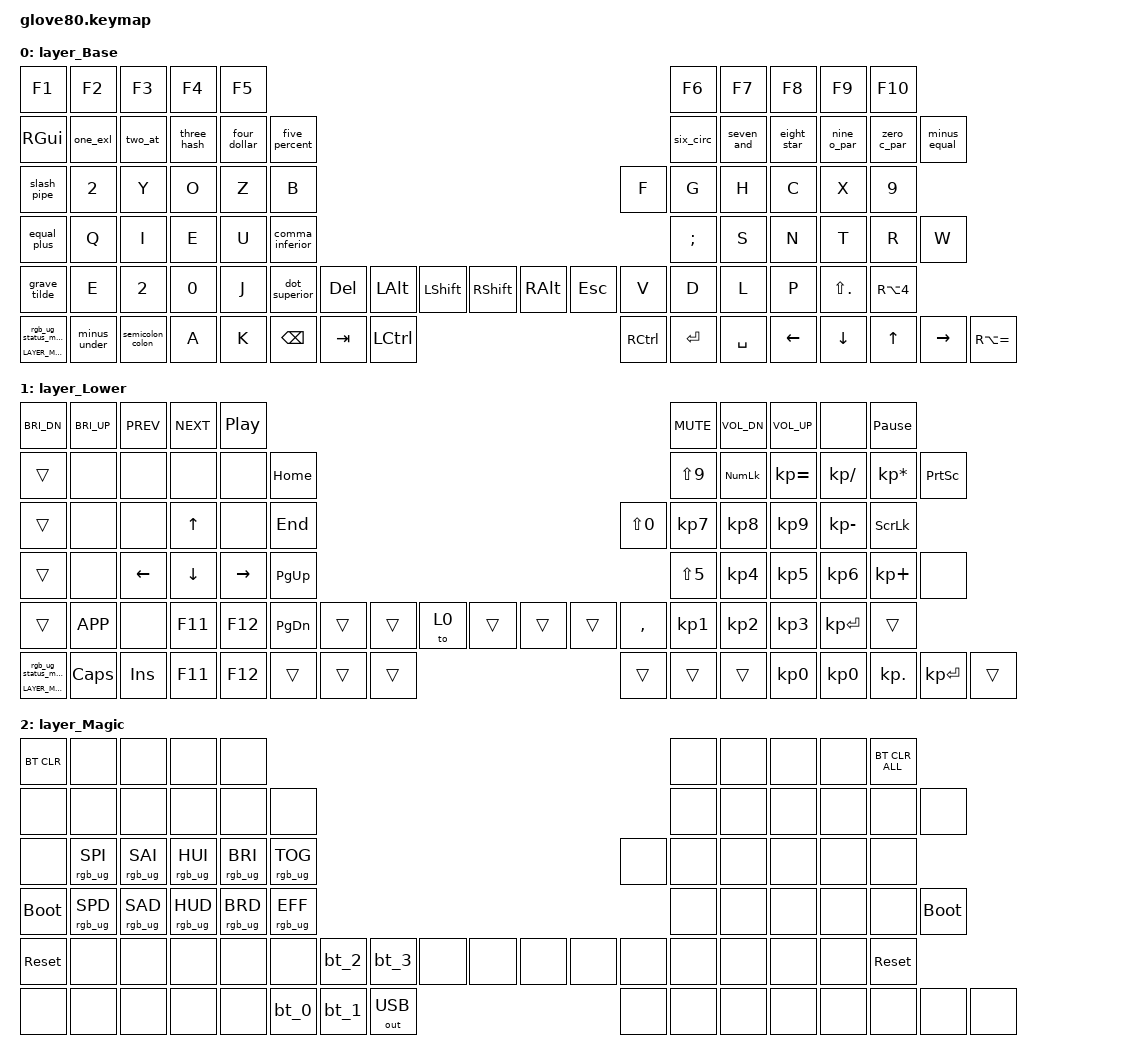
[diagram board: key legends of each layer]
/*
* Copyright (c) 2020 The ZMK Contributors
* Copyright (c) 2025 Innaworks Development Limited, trading as MoErgo
*
* SPDX-License-Identifier: MIT
*/


/* THIS FILE WAS GENERATED BY GLOVE80 LAYOUT EDITOR
*
* This file was generated automatically. You may or may not want to
* edit it directly.
*/

#include <behaviors.dtsi>
/* Include all behavior includes needed */
#include <dt-bindings/zmk/outputs.h>
#include <dt-bindings/zmk/keys.h>
#include <dt-bindings/zmk/bt.h>
#include <dt-bindings/zmk/rgb.h>

/* On demand includes */


/* Helper Macros, based on https://github.com/urob/zmk-helpers/ */

#pragma once

#define ZMK_HELPER_STRINGIFY(x) #x

// Preprocessor mechanism to overload macros, cf. https://stackoverflow.com/a/27051616/6114651
#define VARGS_(_10, _9, _8, _7, _6, _5, _4, _3, _2, _1, N, ...) N
#define VARGS(...) VARGS_(__VA_ARGS__, 10, 9, 8, 7, 6, 5, 4, 3, 2, 1, 0)
#define CONCAT_(a, b) a##b
#define CONCAT(a, b) CONCAT_(a, b)

#define ZMK_BEHAVIOR_CORE_tap_dance  \
compatible = "zmk,behavior-tap-dance"; \
#binding-cells = <0>

#define ZMK_BEHAVIOR(name, type, ...) \
name: name { \
ZMK_BEHAVIOR_CORE_ ## type; \
__VA_ARGS__ \
};

#define ZMK_TAP_DANCE(name, ...) \
ZMK_BEHAVIOR(name, tap_dance, __VA_ARGS__)

#define ZMK_TD_LAYER(name, layer) \
ZMK_TAP_DANCE(name, \
tapping-term-ms = <200>; \
bindings = <&mo layer>, <&to layer>; \
)

/* Automatically generated layer name #define */
#define LAYER_Base 0
#define LAYER_Lower 1
#define LAYER_Magic 2

/* To deal with the situation where there is no Lower layer, to keep &lower happy */
#ifndef LAYER_Lower
#define LAYER_Lower 0
#endif

/* Custom Device-tree */


/* Input Listeners */


/* System behavior and Macros */
/ {
  behaviors {
    ZMK_TD_LAYER(lower, LAYER_Lower)
  };
};

/ {
  macros {
    rgb_ug_status_macro: rgb_ug_status_macro {
      label = "RGB_UG_STATUS";
      compatible = "zmk,behavior-macro";
      #binding-cells = <0>;
      bindings
      = <&rgb_ug RGB_STATUS>;
    };
  };
};


/ {
#ifdef BT_DISC_CMD
behaviors {
  bt_0: bt_0 {
    compatible = "zmk,behavior-tap-dance";
    label = "BT_0";
    #binding-cells = <0>;
    tapping-term-ms = <200>;
    bindings = <&bt_select_0>, <&bt BT_DISC 0>;
  };
  bt_1: bt_1 {
    compatible = "zmk,behavior-tap-dance";
    label = "BT_1";
    #binding-cells = <0>;
    tapping-term-ms = <200>;
    bindings = <&bt_select_1>, <&bt BT_DISC 1>;
  };
  bt_2: bt_2 {
    compatible = "zmk,behavior-tap-dance";
    label = "BT_2";
    #binding-cells = <0>;
    tapping-term-ms = <200>;
    bindings = <&bt_select_2>, <&bt BT_DISC 2>;
  };
  bt_3: bt_3 {
    compatible = "zmk,behavior-tap-dance";
    label = "BT_3";
    #binding-cells = <0>;
    tapping-term-ms = <200>;
    bindings = <&bt_select_3>, <&bt BT_DISC 3>;
  };
};
macros {
  bt_select_0: bt_select_0 {
    label = "BT_SELECT_0";
    compatible = "zmk,behavior-macro";
    #binding-cells = <0>;
    bindings
    = <&out OUT_BLE>,
      <&bt BT_SEL 0>;
  };
  bt_select_1: bt_select_1 {
    label = "BT_SELECT_1";
    compatible = "zmk,behavior-macro";
    #binding-cells = <0>;
    bindings
    = <&out OUT_BLE>,
      <&bt BT_SEL 1>;
  };
  bt_select_2: bt_select_2 {
    label = "BT_SELECT_2";
    compatible = "zmk,behavior-macro";
    #binding-cells = <0>;
    bindings
    = <&out OUT_BLE>,
      <&bt BT_SEL 2>;
  };
  bt_select_3: bt_select_3 {
    label = "BT_SELECT_3";
    compatible = "zmk,behavior-macro";
    #binding-cells = <0>;
    bindings
    = <&out OUT_BLE>,
      <&bt BT_SEL 3>;
  };
};
#else
macros {
  bt_0: bt_0 {
    label = "BT_0";
    compatible = "zmk,behavior-macro";
    #binding-cells = <0>;
    bindings
    = <&out OUT_BLE>,
      <&bt BT_SEL 0>;
  };
  bt_1: bt_1 {
    label = "BT_1";
    compatible = "zmk,behavior-macro";
    #binding-cells = <0>;
    bindings
    = <&out OUT_BLE>,
      <&bt BT_SEL 1>;
  };
  bt_2: bt_2 {
    label = "BT_2";
    compatible = "zmk,behavior-macro";
    #binding-cells = <0>;
    bindings
    = <&out OUT_BLE>,
      <&bt BT_SEL 2>;
  };
  bt_3: bt_3 {
    label = "BT_3";
    compatible = "zmk,behavior-macro";
    #binding-cells = <0>;
    bindings
    = <&out OUT_BLE>,
      <&bt BT_SEL 3>;
  };
};
#endif
};

/ {
  behaviors {
    magic: magic {
      compatible = "zmk,behavior-hold-tap";
      label = "MAGIC_HOLD_TAP";
      #binding-cells = <2>;
      flavor = "tap-preferred";
      tapping-term-ms = <200>;
      bindings = <&mo>, <&rgb_ug_status_macro>;
    };
  };
};


/* Locale-specific keycodes */

#define FR_SQUARE GRAVE
#define FR_N1 N1
#define FR_N2 N2
#define FR_N3 N3
#define FR_N4 N4
#define FR_N5 N5
#define FR_N6 N6
#define FR_N7 N7
#define FR_N8 N8
#define FR_N9 N9
#define FR_N0 N0
#define FR_RIGHT_BRACKET MINUS
#define FR_A Q
#define FR_Z W
#define FR_CIRCUMFLEX LEFT_BRACKET
#define FR_DOLLAR RIGHT_BRACKET
#define FR_Q A
#define FR_M SEMICOLON
#define FR_ASTERISK BACKSLASH
#define FR_W Z
#define FR_COMMA M
#define FR_SEMICOLON COMMA
#define FR_COLON PERIOD
#define FR_EXCLAMATION SLASH
#define FR_LESS_THAN NON_US_BACKSLASH


/* Key positions */

#define POS_LH_C6R1 0
#define POS_LH_C5R1 1
#define POS_LH_C4R1 2
#define POS_LH_C3R1 3
#define POS_LH_C2R1 4
#define POS_RH_C2R1 5
#define POS_RH_C3R1 6
#define POS_RH_C4R1 7
#define POS_RH_C5R1 8
#define POS_RH_C6R1 9
#define POS_LH_C6R2 10
#define POS_LH_C5R2 11
#define POS_LH_C4R2 12
#define POS_LH_C3R2 13
#define POS_LH_C2R2 14
#define POS_LH_C1R2 15
#define POS_RH_C1R2 16
#define POS_RH_C2R2 17
#define POS_RH_C3R2 18
#define POS_RH_C4R2 19
#define POS_RH_C5R2 20
#define POS_RH_C6R2 21
#define POS_LH_C6R3 22
#define POS_LH_C5R3 23
#define POS_LH_C4R3 24
#define POS_LH_C3R3 25
#define POS_LH_C2R3 26
#define POS_LH_C1R3 27
#define POS_RH_C1R3 28
#define POS_RH_C2R3 29
#define POS_RH_C3R3 30
#define POS_RH_C4R3 31
#define POS_RH_C5R3 32
#define POS_RH_C6R3 33
#define POS_LH_C6R4 34
#define POS_LH_C5R4 35
#define POS_LH_C4R4 36
#define POS_LH_C3R4 37
#define POS_LH_C2R4 38
#define POS_LH_C1R4 39
#define POS_RH_C1R4 40
#define POS_RH_C2R4 41
#define POS_RH_C3R4 42
#define POS_RH_C4R4 43
#define POS_RH_C5R4 44
#define POS_RH_C6R4 45
#define POS_LH_C6R5 46
#define POS_LH_C5R5 47
#define POS_LH_C4R5 48
#define POS_LH_C3R5 49
#define POS_LH_C2R5 50
#define POS_LH_C1R5 51
#define POS_LH_T1 52
#define POS_LH_T2 53
#define POS_LH_T3 54
#define POS_RH_T3 55
#define POS_RH_T2 56
#define POS_RH_T1 57
#define POS_RH_C1R5 58
#define POS_RH_C2R5 59
#define POS_RH_C3R5 60
#define POS_RH_C4R5 61
#define POS_RH_C5R5 62
#define POS_RH_C6R5 63
#define POS_LH_C6R6 64
#define POS_LH_C5R6 65
#define POS_LH_C4R6 66
#define POS_LH_C3R6 67
#define POS_LH_C2R6 68
#define POS_LH_T4 69
#define POS_LH_T5 70
#define POS_LH_T6 71
#define POS_RH_T6 72
#define POS_RH_T5 73
#define POS_RH_T4 74
#define POS_RH_C2R6 75
#define POS_RH_C3R6 76
#define POS_RH_C4R6 77
#define POS_RH_C5R6 78
#define POS_RH_C6R6 79


/* Custom Defined Behaviors */
/ {
  behaviors {
    one_exl: one_exl {
      compatible = "zmk,behavior-mod-morph";
      #binding-cells = <0>;
      bindings = <&kp LS(N1)>, <&kp FSLH>;
      mods = <(MOD_LSFT|MOD_RSFT)>;
    };

    two_at: two_at {
      compatible = "zmk,behavior-mod-morph";
      #binding-cells = <0>;
      bindings = <&kp LS(N2)>, <&kp RA(N0)>;
      mods = <(MOD_LSFT|MOD_RSFT)>;
    };      
    three_hash: three_hash {
      compatible = "zmk,behavior-mod-morph";
      #binding-cells = <0>;
      bindings = <&kp LS(N3)>, <&kp RA(N3)>;
      mods = <(MOD_LSFT|MOD_RSFT)>;
    };
    four_dollar: four_dollar {
      compatible = "zmk,behavior-mod-morph";
      #binding-cells = <0>;
      bindings = <&kp LS(N4)>, <&kp RBKT>;
      mods = <(MOD_LSFT|MOD_RSFT)>;
    };
    five_percent: five_percent {
      compatible = "zmk,behavior-mod-morph";
      #binding-cells = <0>;
      bindings = <&kp LS(N5)>, <&kp LS(SQT)>;
      mods = <(MOD_LSFT|MOD_RSFT)>;
    };
    six_circ: six_circ {
      compatible = "zmk,behavior-mod-morph";
      #binding-cells = <0>;
      bindings = <&kp LS(N6)>, <&kp LBKT>;
      mods = <(MOD_LSFT|MOD_RSFT)>;
    };
    seven_and: seven_and {
      compatible = "zmk,behavior-mod-morph";
      #binding-cells = <0>;
      bindings = <&kp LS(N7)>, <&kp N1>;
      mods = <(MOD_LSFT|MOD_RSFT)>;
    };
    eight_star: eight_star {
      compatible = "zmk,behavior-mod-morph";
      #binding-cells = <0>;
      bindings = <&kp LS(N8)>, <&kp BSLH>;
      mods = <(MOD_LSFT|MOD_RSFT)>;
    };
    nine_o_par: nine_o_par {
      compatible = "zmk,behavior-mod-morph";
      #binding-cells = <0>;
      bindings = <&kp LS(N9)>, <&kp N5>;
      mods = <(MOD_LSFT|MOD_RSFT)>;
    };
    zero_c_par: zero_c_par {
      compatible = "zmk,behavior-mod-morph";
      #binding-cells = <0>;
      bindings = <&kp LS(N0)>, <&kp MINUS>;
      mods = <(MOD_LSFT|MOD_RSFT)>;
    };
    minus_equal: minus_equal {
      compatible = "zmk,behavior-mod-morph";
      #binding-cells = <0>;
      bindings = <&kp N4>, <&kp EQUAL>;
      mods = <(MOD_LSFT|MOD_RSFT)>;
    };
    slash_pipe: slash_pipe {
      compatible = "zmk,behavior-mod-morph";
      #binding-cells = <0>;
      bindings = <&kp RA(N8)>, <&kp RA(N6)>;
      mods = <(MOD_LSFT|MOD_RSFT)>;
    };
    equal_plus: equal_plus {
      compatible = "zmk,behavior-mod-morph";
      #binding-cells = <0>;
      bindings = <&kp EQUAL>, <&kp LS(EQUAL)>;
      mods = <(MOD_LSFT|MOD_RSFT)>;
    };
    grave_tilde: grave_tilde {
      compatible = "zmk,behavior-mod-morph";
      #binding-cells = <0>;
      bindings = <&kp RA(N7)>, <&kp RA(N2)>;
      mods = <(MOD_LSFT|MOD_RSFT)>;
    };
    comma_inferior: comma_inferior {
      compatible = "zmk,behavior-mod-morph";
      #binding-cells = <0>;
      bindings = <&kp M>, <&kp NON_US_BSLH>;
      mods = <(MOD_LSFT|MOD_RSFT)>;
    };
    dot_superior: dot_superior {
      compatible = "zmk,behavior-mod-morph";
      #binding-cells = <0>;
      bindings = <&kp LS(COMMA)>, <&kp LS(NON_US_BSLH)>;
      mods = <(MOD_LSFT|MOD_RSFT)>;
    };
    minus_under: minus_under {
      compatible = "zmk,behavior-mod-morph";
      #binding-cells = <0>;
      bindings = <&kp N6>, <&kp N8>;
      mods = <(MOD_LSFT|MOD_RSFT)>;
    };
    semicolon_colon: semicolon_colon {
      compatible = "zmk,behavior-mod-morph";
      #binding-cells = <0>;
      bindings = <&kp COMMA>, <&kp DOT>;
      mods = <(MOD_LSFT|MOD_RSFT)>;
    };

  };
};

/* Generated input processors */


/* Automatically generated macro definitions */
/ {
  macros {

  };
};

/* Automatically generated behavior definitions */
/ {
  behaviors {


  };
};

/* Automatically generated combos definitions */


/* Automatically generated keymap */
/ {
  keymap {
    compatible = "zmk,keymap";


    layer_Base {
      bindings = <
        &kp F1         &kp F2    &kp F3        &kp F4            &kp F5                                                                                               &kp F6       &kp F7       &kp F8       &kp F9        &kp F10
        &kp RGUI       &one_exl  &two_at       &three_hash       &four_dollar  &five_percent                                                                 &six_circ  &seven_and  &eight_star  &nine_o_par  &zero_c_par         &minus_equal
        &slash_pipe    &kp N2    &kp Y         &kp O             &kp Z          &kp B                                                                     &kp F       &kp G        &kp H        &kp C        &kp X         &kp N9
        &equal_plus    &kp Q     &kp I         &kp E             &kp U          &comma_inferior                                                                  &kp SEMI       &kp S        &kp N        &kp T        &kp R          &kp W
        &grave_tilde   &kp E     &kp N2        &kp N0            &kp J  &dot_superior   &kp DEL  &kp LALT  &kp LSHFT  &kp RSHFT  &kp RALT    &kp ESC      &kp V       &kp D        &kp L        &kp P  &kp LS(DOT)     &kp RA(N4)
        &magic LAYER_Magic 0     &minus_under  &semicolon_colon        &kp A         &kp K                 &kp BSPC   &kp TAB  &kp LCTRL  &kp RCTRL   &kp RET  &kp SPACE               &kp LEFT     &kp DOWN       &kp UP    &kp RIGHT  &kp RA(EQUAL)
      >;
    };

    layer_Lower {
      bindings = <
        &kp C_BRI_DN  &kp C_BRI_UP      &kp C_PREV      &kp C_NEXT         &kp C_PP                                                                         &kp C_MUTE  &kp C_VOL_DN  &kp C_VOL_UP            &none  &kp PAUSE_BREAK
        &trans         &none           &none           &none            &none   &kp HOME                                                  &kp LS(N9)  &kp KP_NUM  &kp KP_EQUAL  &kp KP_SLASH  &kp KP_MULTIPLY  &kp PRINTSCREEN
        &trans         &none           &none    &kp UP_ARROW            &none    &kp END                                                  &kp LS(N0)   &kp KP_N7     &kp KP_N8     &kp KP_N9     &kp KP_MINUS   &kp SCROLLLOCK
        &trans         &none  &kp LEFT_ARROW  &kp DOWN_ARROW  &kp RIGHT_ARROW  &kp PG_UP                                                  &kp LS(N5)   &kp KP_N4     &kp KP_N5     &kp KP_N6      &kp KP_PLUS            &none
        &trans     &kp K_APP           &none         &kp F11          &kp F12  &kp PG_DN  &trans  &trans   &to 0  &trans  &trans  &trans   &kp COMMA   &kp KP_N1     &kp KP_N2     &kp KP_N3     &kp KP_ENTER           &trans
        &magic LAYER_Magic 0      &kp CAPS         &kp INS         &kp F11          &kp F12             &trans  &trans  &trans  &trans  &trans  &trans               &kp KP_N0     &kp KP_N0    &kp KP_DOT     &kp KP_ENTER           &trans
      >;
    };

    layer_Magic {
      bindings = <
        &bt BT_CLR            &none            &none            &none            &none                                                                                  &none   &none   &none   &none  &bt BT_CLR_ALL
        &none            &none            &none            &none            &none            &none                                                         &none   &none   &none   &none   &none           &none
        &none  &rgb_ug RGB_SPI  &rgb_ug RGB_SAI  &rgb_ug RGB_HUI  &rgb_ug RGB_BRI  &rgb_ug RGB_TOG                                                         &none   &none   &none   &none   &none           &none
        &bootloader  &rgb_ug RGB_SPD  &rgb_ug RGB_SAD  &rgb_ug RGB_HUD  &rgb_ug RGB_BRD  &rgb_ug RGB_EFF                                                         &none   &none   &none   &none   &none     &bootloader
        &sys_reset            &none            &none            &none            &none            &none   &bt_2   &bt_3         &none   &none   &none   &none   &none   &none   &none   &none   &none      &sys_reset
        &none            &none            &none            &none            &none                    &bt_0   &bt_1  &out OUT_USB   &none   &none   &none           &none   &none   &none   &none           &none
      >;
    };

  };
};
